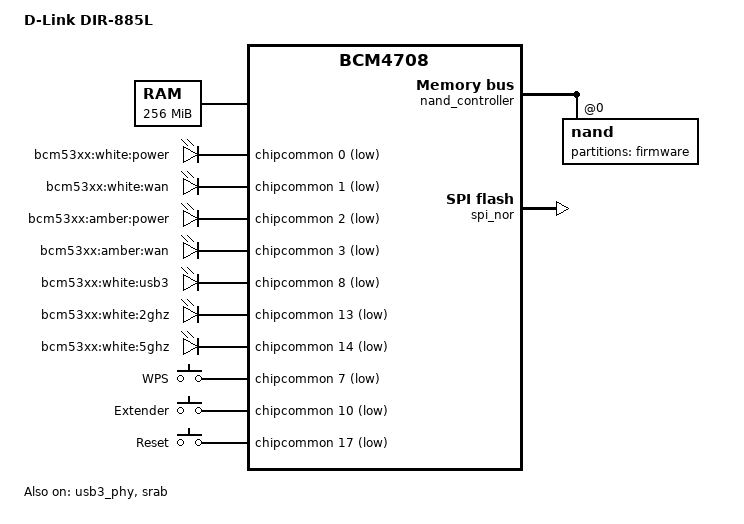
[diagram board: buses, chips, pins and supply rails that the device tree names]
// SPDX-License-Identifier: GPL-2.0-or-later OR MIT
/*
 * Broadcom BCM470X / BCM5301X ARM platform code.
 * DTS for D-Link DIR-885L
 *
 * Copyright (C) 2016 Rafał Miłecki <zajec5@gmail.com>
 */

/dts-v1/;

#include "bcm47094.dtsi"
#include "bcm5301x-nand-cs0-bch1.dtsi"

/ {
	compatible = "dlink,dir-885l", "brcm,bcm47094", "brcm,bcm4708";
	model = "D-Link DIR-885L";

	chosen {
		bootargs = "console=ttyS0,115200 earlycon";
	};

	memory@0 {
		device_type = "memory";
		reg = <0x00000000 0x08000000>,
		      <0x88000000 0x08000000>;
	};

	nvram@1e3f0000 {
		compatible = "brcm,nvram";
		reg = <0x1e3f0000 0x10000>;

		et2macaddr: et2macaddr {
			#nvmem-cell-cells = <1>;
		};
	};

	nand_controller: nand-controller@18028000 {
		nand@0 {
			partitions {
				compatible = "fixed-partitions";
				#address-cells = <1>;
				#size-cells = <1>;

				partition@0 {
					compatible = "seama";
					label = "firmware";
					reg = <0x00000000 0x08000000>;
				};
			};
		};
	};

	leds {
		compatible = "gpio-leds";

		led-power-white {
			label = "bcm53xx:white:power";
			gpios = <&chipcommon 0 GPIO_ACTIVE_LOW>;
			linux,default-trigger = "default-on";
		};

		led-wan-white {
			label = "bcm53xx:white:wan";
			gpios = <&chipcommon 1 GPIO_ACTIVE_LOW>;
		};

		led-power-amber {
			label = "bcm53xx:amber:power";
			gpios = <&chipcommon 2 GPIO_ACTIVE_LOW>;
		};

		led-wan-amber {
			label = "bcm53xx:amber:wan";
			gpios = <&chipcommon 3 GPIO_ACTIVE_LOW>;
		};

		led-usb3-white {
			label = "bcm53xx:white:usb3";
			gpios = <&chipcommon 8 GPIO_ACTIVE_LOW>;
			trigger-sources = <&ohci_port1>, <&ehci_port1>,
					  <&xhci_port1>;
			linux,default-trigger = "usbport";
		};

		led-2ghz {
			label = "bcm53xx:white:2ghz";
			gpios = <&chipcommon 13 GPIO_ACTIVE_LOW>;
		};

		led-5ghz {
			label = "bcm53xx:white:5ghz";
			gpios = <&chipcommon 14 GPIO_ACTIVE_LOW>;
		};
	};

	gpio-keys {
		compatible = "gpio-keys";

		button-wps {
			label = "WPS";
			linux,code = <KEY_WPS_BUTTON>;
			gpios = <&chipcommon 7 GPIO_ACTIVE_LOW>;
		};

		/* Switch: router / extender */
		button-extender {
			label = "Extender";
			linux,code = <BTN_0>;
			gpios = <&chipcommon 10 GPIO_ACTIVE_LOW>;
		};

		button-restart {
			label = "Reset";
			linux,code = <KEY_RESTART>;
			gpios = <&chipcommon 17 GPIO_ACTIVE_LOW>;
		};
	};
};

&usb3 {
	vcc-gpio = <&chipcommon 18 GPIO_ACTIVE_HIGH>;
};

&gmac0 {
	nvmem-cells = <&et2macaddr 0>;
	nvmem-cell-names = "mac-address";
};

&spi_nor {
	status = "okay";
};

&usb3_phy {
	status = "okay";
};

&srab {
	status = "okay";

	ports {
		port@0 {
			label = "lan4";
		};

		port@1 {
			label = "lan3";
		};

		port@2 {
			label = "lan2";
		};

		port@3 {
			label = "lan1";
		};

		port@4 {
			label = "wan";
			nvmem-cells = <&et2macaddr 3>;
			nvmem-cell-names = "mac-address";
		};

		port@5 {
			status = "disabled";
		};

		port@7 {
			status = "disabled";
		};

		port@8 {
			label = "cpu";
		};
	};
};
